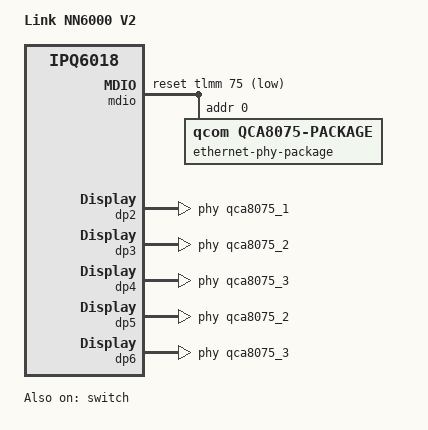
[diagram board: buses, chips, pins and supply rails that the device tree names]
// SPDX-License-Identifier: GPL-2.0-or-later OR MIT

/dts-v1/;

#include "ipq6000-link.dtsi"

/ {
	model = "Link NN6000 V2";
	compatible = "link,nn6000-v2", "qcom,ipq6018";

	aliases {
		ethernet1 = &dp2;
		ethernet2 = &dp3;
		ethernet3 = &dp4;
		ethernet4 = &dp5;
		ethernet5 = &dp6;
	};
};

&mdio {
	status = "okay";

	pinctrl-0 = <&mdio_pins>;
	pinctrl-names = "default";
	reset-gpios = <&tlmm 75 GPIO_ACTIVE_LOW>;

	ethernet-phy-package@0 {
		compatible = "qcom,qca8075-package";
		#address-cells = <1>;
		#size-cells = <0>;
		reg = <0>;

		qca8075_1: ethernet-phy@1 {
			compatible = "ethernet-phy-ieee802.3-c22";
			reg = <1>;
		};

		qca8075_2: ethernet-phy@2 {
			compatible = "ethernet-phy-ieee802.3-c22";
			reg = <2>;
		};

		qca8075_3: ethernet-phy@3 {
			compatible = "ethernet-phy-ieee802.3-c22";
			reg = <3>;
		};

		qca8075_4: ethernet-phy@4 {
			compatible = "ethernet-phy-ieee802.3-c22";
			reg = <4>;
		};

		qca8075_5: ethernet-phy@5 {
			compatible = "ethernet-phy-ieee802.3-c22";
			reg = <5>;
		};
	};
};

&switch {
	status = "okay";

	switch_lan_bmp = <(ESS_PORT3 | ESS_PORT4 | ESS_PORT5 | ESS_PORT6)>;
	switch_wan_bmp = <ESS_PORT2>;
	switch_mac_mode = <MAC_MODE_PSGMII>;

	qcom,port_phyinfo {
		port@2 {
			port_id = <2>;
			phy_address = <1>;
		};

		port@3 {
			port_id = <3>;
			phy_address = <2>;
		};

		port@4 {
			port_id = <4>;
			phy_address = <3>;
		};

		port@5 {
			port_id = <5>;
			phy_address = <4>;
		};

		port@6 {
			port_id = <6>;
			phy_address = <5>;
		};
	};
};

&dp2 {
	status = "okay";
	phy-handle = <&qca8075_1>;
	label = "wan";
};

&dp3 {
	status = "okay";
	phy-handle = <&qca8075_2>;
	label = "lan1";
};

&dp4 {
	status = "okay";
	phy-handle = <&qca8075_3>;
	label = "lan2";
};

&dp5 {
	status = "okay";
	phy-handle = <&qca8075_2>;
	label = "lan3";
};

&dp6 {
	status = "okay";
	phy-handle = <&qca8075_3>;
	label = "lan4";
};
